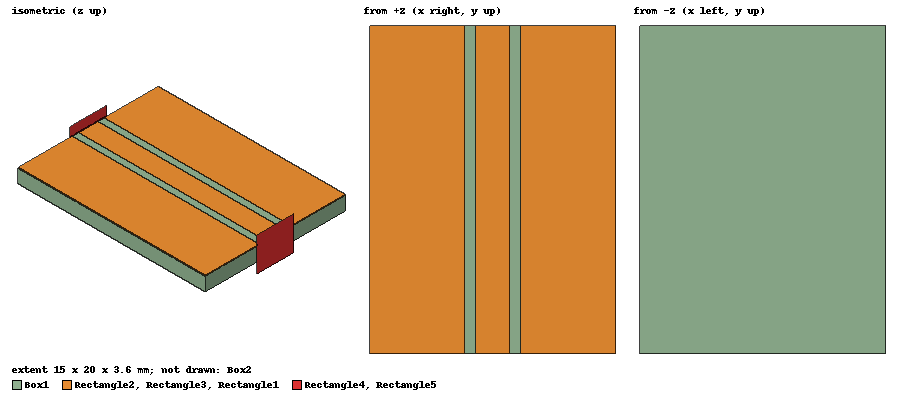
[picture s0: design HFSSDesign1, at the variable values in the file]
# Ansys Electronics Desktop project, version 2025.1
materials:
  vacuum: permittivity=1
  FR4_epoxy: permittivity=4.4 dielectric_loss_tangent=0.02
  air: permittivity=1.0006 permeability=1.0000004

design HFSSDesign1 (HFSS, HFSS Terminal Network, model units mm)
options: Calculate_Lossy_Dielectrics
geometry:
  Box1 [FR4_epoxy] = box(corner=(-7.5mm, 0mm, 0.1mm), size=(15mm, 20mm, 1.5mm))
  Rectangle1 = rectangle(corner=(-1.03mm, 0mm, 1.6mm), x_size=2.06mm, y_size=20mm)
  Rectangle2 = rectangle(corner=(-1.7mm, 0mm, 1.6mm), x_size=-5.8mm, y_size=20mm)
  Rectangle3 = rectangle(corner=(1.7mm, 0mm, 1.6mm), x_size=5.8mm, y_size=20mm)
  Rectangle4 = rectangle(corner=(-2mm, 0mm, -1mm), z_size=(2+1.6) mm, x_size=4mm)
  Rectangle5 = rectangle(corner=(-2mm, 20mm, -1mm), z_size=(2+1.6) mm, x_size=4mm)
  Box2 [air] = box(corner=(-10mm, 0mm, -10mm), size=(20mm, 20mm, 20mm))
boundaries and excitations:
  PerfE1: Perfect E Objects=[Rectangle1, Rectangle2, Rectangle3]
  Rad1: Radiation Objects=Box2
  1: Wave Port Objects=Rectangle4 WavePortType=Modal NumModes=1 Modes{Mode1{CharImp=Zpi}}
  2: Wave Port Objects=Rectangle5 WavePortType=Modal NumModes=1 Modes{Mode1{CharImp=Zpi}}
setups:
  Setup1: HfssDriven MultipleAdaptiveFreqsSetup{Low=1GHz High=40GHz} MaxDeltaS=0.02 MaximumPasses=10 MinimumPasses=1 MinimumConvergedPasses=1 PercentRefinement=30 BasisOrder=1 PortAccuracy=2 DrivenSolverType="Direct Solver"
    sweep Sweep: 1GHz to 10GHz, 401 points; Type=Interpolating InterpTolerance=0.5 InterpMaxSolns=250 PassivityErrorTolerance=0.0001
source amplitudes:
  1:1: 1V 0deg
  2:1: 0V 0deg
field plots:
  Vector_E1: E Field over Rectangle4.face Rectangle1.face on Setup1 : LastAdaptive at Freq=20.5GHz Phase=0deg
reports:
  Port Zo Plot1: re(Zo(1)), re(Zo(2)) vs Freq on Setup1 : Sweep
  S Parameter Plot1: dB(S(1,1)), dB(S(2,1)), dB(S(1,2)), dB(S(2,2)) vs Freq on Setup1 : Sweep
